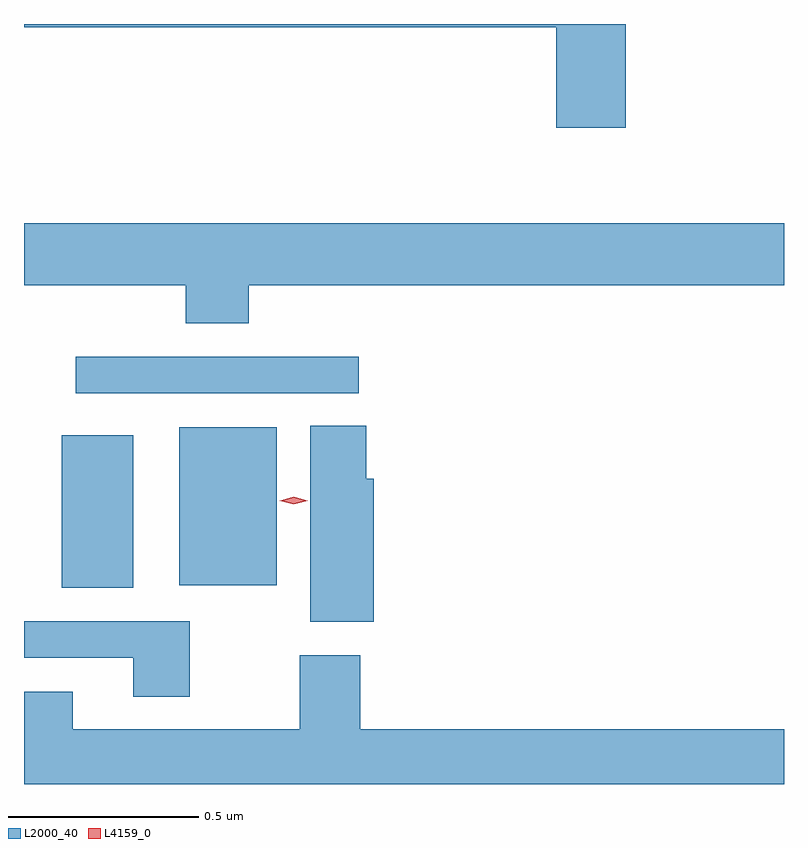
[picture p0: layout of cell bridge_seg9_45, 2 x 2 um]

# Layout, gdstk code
import gdstk
lib = gdstk.Library(unit=1e-6, precision=1e-09)
def R(c, l, rs):  # rectangles x0, y0, x1, y1
    for r in rs: c.add(gdstk.rectangle(r[:2], r[2:], *l))
def P(c, l, *ps):  # polygons
    for p in ps: c.add(gdstk.Polygon(p, *l))
L2000_40 = (2000, 40)
L4159_0 = (4159, 0)

bridge_seg9_45 = lib.new_cell('bridge_seg9_45')
R(bridge_seg9_45, L2000_40, [(914.168,1226.261,914.356,1226.662), (914.477,1226.267,914.734,1226.683), (914.205,1226.772,914.95,1226.868)])
P(bridge_seg9_45, L2000_40, [(915.653,1227.744),(914.069,1227.744),(914.069,1227.736),(915.47,1227.736),(915.47,1227.471),(915.653,1227.471)],
  [(914.66,1227.056),(916.069,1227.056),(916.069,1227.22),(914.069,1227.22),(914.069,1227.056),(914.495,1227.056),(914.495,1226.957),(914.66,1226.957)],
  [(914.99,1226.547),(914.969,1226.547),(914.969,1226.687),(914.822,1226.687),(914.822,1226.171),(914.99,1226.171)],
  [(914.505,1226.172),(914.069,1226.172),(914.069,1226.076),(914.357,1226.076),(914.357,1225.974),(914.505,1225.974)],
  [(916.069,1225.888),(914.954,1225.888),(914.954,1226.083),(914.794,1226.083),(914.794,1225.888),(914.197,1225.888),(914.197,1225.987),(914.069,1225.987),(914.069,1225.744),(916.069,1225.744)])
P(bridge_seg9_45, L4159_0, [(914.779,1226.48),(914.742,1226.49),(914.741,1226.49),(914.742,1226.49),(914.779,1226.5),(914.816,1226.49),(914.816,1226.49),(914.816,1226.49)])

lib.write_gds('bridge_seg9_45.gds')
